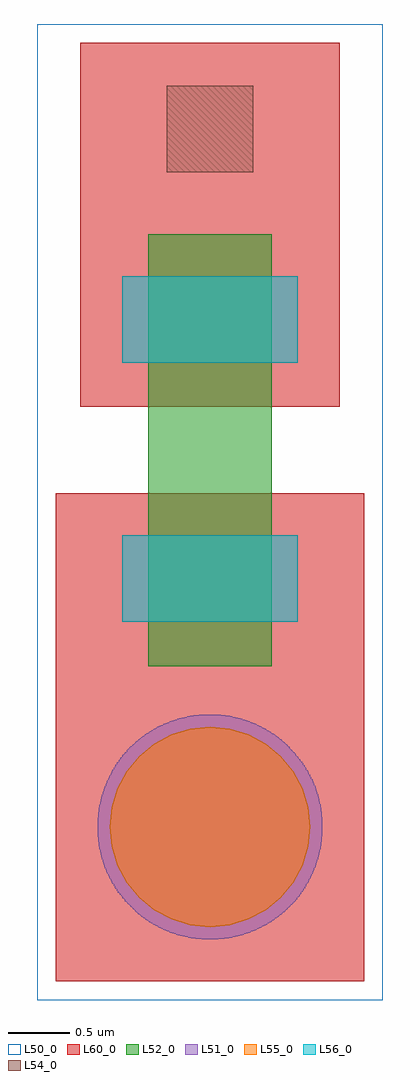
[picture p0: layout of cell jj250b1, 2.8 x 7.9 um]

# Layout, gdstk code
import gdstk
lib = gdstk.Library(unit=1e-6, precision=1e-09)
def R(c, l, rs):  # rectangles x0, y0, x1, y1
    for r in rs: c.add(gdstk.rectangle(r[:2], r[2:], *l))
def P(c, l, *ps):  # polygons
    for p in ps: c.add(gdstk.Polygon(p, *l))
L50_0 = (50, 0)
L51_0 = (51, 0)
L52_0 = (52, 0)
L54_0 = (54, 0)
L55_0 = (55, 0)
L56_0 = (56, 0)
L60_0 = (60, 0)

jj250b1 = lib.new_cell('jj250b1')
R(jj250b1, L50_0, [(-1.4,-1.4,1.4,6.5)])
P(jj250b1, L51_0, [(0,-0.91),(0.065,-0.91),(0.065,-0.905),(0.115,-0.905),(0.115,-0.9),(0.15,-0.9),(0.15,-0.895),(0.18,-0.895),(0.18,-0.89),(0.205,-0.89),(0.205,-0.885),(0.225,-0.885),(0.225,-0.88),(0.24,-0.88),(0.24,-0.875),(0.26,-0.875),(0.26,-0.87),(0.275,-0.87),(0.275,-0.865),(0.29,-0.865),(0.29,-0.86),(0.305,-0.86),(0.305,-0.855),(0.32,-0.855),(0.32,-0.85),(0.33,-0.85),(0.33,-0.845),(0.345,-0.845),(0.345,-0.84),(0.36,-0.84),(0.36,-0.835),(0.37,-0.835),(0.37,-0.83),(0.38,-0.83),(0.38,-0.825),(0.39,-0.825),(0.39,-0.82),(0.4,-0.82),(0.4,-0.815),(0.41,-0.815),(0.41,-0.81),(0.42,-0.81),(0.42,-0.805),(0.43,-0.805),(0.43,-0.8),(0.44,-0.8),(0.44,-0.795),(0.45,-0.795),(0.45,-0.79),(0.46,-0.79),(0.46,-0.785),(0.465,-0.785),(0.465,-0.78),(0.475,-0.78),(0.475,-0.775),(0.48,-0.775),(0.48,-0.77),(0.49,-0.77),(0.49,-0.765),(0.5,-0.765),(0.5,-0.76),(0.505,-0.76),(0.505,-0.755),(0.515,-0.755),(0.515,-0.75),(0.52,-0.75),(0.52,-0.745),(0.525,-0.745),(0.525,-0.74),(0.535,-0.74),(0.535,-0.735),(0.54,-0.735),(0.54,-0.73),(0.55,-0.73),(0.55,-0.725),(0.555,-0.725),(0.555,-0.72),(0.56,-0.72),(0.56,-0.715),(0.565,-0.715),(0.565,-0.71),(0.575,-0.71),(0.575,-0.705),(0.58,-0.705),(0.58,-0.7),(0.585,-0.7),(0.585,-0.695),(0.59,-0.695),(0.59,-0.69),(0.6,-0.69),(0.6,-0.685),(0.605,-0.685),(0.605,-0.68),(0.61,-0.68),(0.61,-0.675),(0.615,-0.675),(0.615,-0.67),(0.62,-0.67),(0.62,-0.665),(0.625,-0.665),(0.625,-0.66),(0.63,-0.66),(0.63,-0.655),(0.635,-0.655),(0.635,-0.65),(0.64,-0.65),(0.64,-0.645),(0.645,-0.645),(0.645,-0.64),(0.65,-0.64),(0.65,-0.635),(0.655,-0.635),(0.655,-0.63),(0.66,-0.63),(0.66,-0.625),(0.665,-0.625),(0.665,-0.62),(0.67,-0.62),(0.67,-0.615),(0.675,-0.615),(0.675,-0.61),(0.68,-0.61),(0.68,-0.605),(0.685,-0.605),(0.685,-0.6),(0.69,-0.6),(0.69,-0.595),(0.695,-0.595),(0.695,-0.59),(0.7,-0.59),(0.7,-0.585),(0.705,-0.585),(0.705,-0.58),(0.705,-0.57),(0.71,-0.57),(0.715,-0.57),(0.715,-0.565),(0.72,-0.565),(0.72,-0.56),(0.725,-0.56),(0.725,-0.555),(0.725,-0.545),(0.73,-0.545),(0.735,-0.545),(0.735,-0.54),(0.74,-0.54),(0.74,-0.535),(0.74,-0.525),(0.745,-0.525),(0.75,-0.525),(0.75,-0.52),(0.75,-0.51),(0.755,-0.51),(0.76,-0.51),(0.76,-0.505),(0.76,-0.495),(0.765,-0.495),(0.77,-0.495),(0.77,-0.49),(0.77,-0.48),(0.775,-0.48),(0.78,-0.48),(0.78,-0.475),(0.78,-0.465),(0.785,-0.465),(0.785,-0.455),(0.79,-0.455),(0.79,-0.445),(0.795,-0.445),(0.8,-0.445),(0.8,-0.44),(0.8,-0.43),(0.805,-0.43),(0.805,-0.42),(0.81,-0.42),(0.81,-0.41),(0.815,-0.41),(0.815,-0.4),(0.82,-0.4),(0.82,-0.39),(0.825,-0.39),(0.825,-0.38),(0.83,-0.38),(0.83,-0.365),(0.835,-0.365),(0.835,-0.355),(0.84,-0.355),(0.84,-0.345),(0.845,-0.345),(0.845,-0.33),(0.85,-0.33),(0.85,-0.32),(0.855,-0.32),(0.855,-0.305),(0.86,-0.305),(0.86,-0.29),(0.865,-0.29),(0.865,-0.275),(0.87,-0.275),(0.87,-0.26),(0.875,-0.26),(0.875,-0.24),(0.88,-0.24),(0.88,-0.225),(0.885,-0.225),(0.885,-0.205),(0.89,-0.205),(0.89,-0.18),(0.895,-0.18),(0.895,-0.15),(0.9,-0.15),(0.9,-0.12),(0.905,-0.12),(0.905,-0.075),(0.91,-0.075),(0.91,0.08),(0.905,0.08),(0.905,0.125),(0.9,0.125),(0.9,0.155),(0.895,0.155),(0.895,0.185),(0.89,0.185),(0.89,0.205),(0.885,0.205),(0.885,0.23),(0.88,0.23),(0.88,0.245),(0.875,0.245),(0.875,0.265),(0.87,0.265),(0.87,0.28),(0.865,0.28),(0.865,0.295),(0.86,0.295),(0.86,0.31),(0.855,0.31),(0.855,0.325),(0.85,0.325),(0.85,0.335),(0.845,0.335),(0.845,0.35),(0.84,0.35),(0.84,0.36),(0.835,0.36),(0.835,0.37),(0.83,0.37),(0.83,0.385),(0.825,0.385),(0.82,0.385),(0.82,0.39),(0.82,0.405),(0.815,0.405),(0.81,0.405),(0.81,0.41),(0.81,0.425),(0.805,0.425),(0.8,0.425),(0.8,0.43),(0.8,0.44),(0.795,0.44),(0.795,0.45),(0.79,0.45),(0.79,0.46),(0.785,0.46),(0.78,0.46),(0.78,0.465),(0.78,0.475),(0.775,0.475),(0.775,0.485),(0.77,0.485),(0.765,0.485),(0.765,0.49),(0.765,0.5),(0.76,0.5),(0.755,0.5),(0.755,0.505),(0.755,0.515),(0.75,0.515),(0.745,0.515),(0.745,0.52),(0.745,0.53),(0.74,0.53),(0.735,0.53),(0.735,0.535),(0.73,0.535),(0.73,0.54),(0.73,0.55),(0.725,0.55),(0.72,0.55),(0.72,0.555),(0.715,0.555),(0.715,0.56),(0.715,0.57),(0.71,0.57),(0.705,0.57),(0.705,0.575),(0.7,0.575),(0.7,0.58),(0.695,0.58),(0.695,0.585),(0.695,0.595),(0.69,0.595),(0.685,0.595),(0.685,0.6),(0.68,0.6),(0.68,0.605),(0.675,0.605),(0.675,0.61),(0.67,0.61),(0.67,0.615),(0.665,0.615),(0.665,0.62),(0.66,0.62),(0.66,0.625),(0.655,0.625),(0.655,0.63),(0.65,0.63),(0.65,0.635),(0.645,0.635),(0.645,0.64),(0.645,0.65),(0.64,0.65),(0.635,0.65),(0.635,0.655),(0.63,0.655),(0.63,0.66),(0.625,0.66),(0.625,0.665),(0.62,0.665),(0.62,0.67),(0.615,0.67),(0.615,0.675),(0.61,0.675),(0.61,0.68),(0.605,0.68),(0.605,0.685),(0.595,0.685),(0.595,0.69),(0.59,0.69),(0.59,0.695),(0.585,0.695),(0.585,0.7),(0.58,0.7),(0.58,0.705),(0.575,0.705),(0.575,0.71),(0.565,0.71),(0.565,0.715),(0.56,0.715),(0.56,0.72),(0.555,0.72),(0.555,0.725),(0.55,0.725),(0.55,0.73),(0.54,0.73),(0.54,0.735),(0.535,0.735),(0.535,0.74),(0.53,0.74),(0.53,0.745),(0.52,0.745),(0.52,0.75),(0.515,0.75),(0.515,0.755),(0.505,0.755),(0.505,0.76),(0.495,0.76),(0.495,0.765),(0.49,0.765),(0.49,0.77),(0.48,0.77),(0.48,0.775),(0.475,0.775),(0.475,0.78),(0.465,0.78),(0.465,0.785),(0.455,0.785),(0.455,0.79),(0.45,0.79),(0.45,0.795),(0.44,0.795),(0.44,0.8),(0.43,0.8),(0.43,0.805),(0.42,0.805),(0.42,0.81),(0.41,0.81),(0.41,0.815),(0.4,0.815),(0.4,0.82),(0.39,0.82),(0.39,0.825),(0.38,0.825),(0.38,0.83),(0.37,0.83),(0.37,0.835),(0.36,0.835),(0.36,0.84),(0.345,0.84),(0.345,0.845),(0.335,0.845),(0.335,0.85),(0.32,0.85),(0.32,0.855),(0.305,0.855),(0.305,0.86),(0.295,0.86),(0.295,0.865),(0.28,0.865),(0.28,0.87),(0.26,0.87),(0.26,0.875),(0.245,0.875),(0.245,0.88),(0.225,0.88),(0.225,0.885),(0.205,0.885),(0.205,0.89),(0.18,0.89),(0.18,0.895),(0.16,0.895),(0.16,0.9),(0.125,0.9),(0.125,0.905),(0.085,0.905),(0.085,0.91),(-0.085,0.91),(-0.085,0.905),(-0.13,0.905),(-0.13,0.9),(-0.16,0.9),(-0.16,0.895),(-0.185,0.895),(-0.185,0.89),(-0.205,0.89),(-0.205,0.885),(-0.23,0.885),(-0.23,0.88),(-0.25,0.88),(-0.25,0.875),(-0.265,0.875),(-0.265,0.87),(-0.28,0.87),(-0.28,0.865),(-0.295,0.865),(-0.295,0.86),(-0.31,0.86),(-0.31,0.855),(-0.325,0.855),(-0.325,0.85),(-0.335,0.85),(-0.335,0.845),(-0.345,0.845),(-0.345,0.84),(-0.36,0.84),(-0.36,0.835),(-0.375,0.835),(-0.375,0.83),(-0.38,0.83),(-0.38,0.825),(-0.395,0.825),(-0.395,0.82),(-0.405,0.82),(-0.405,0.815),(-0.415,0.815),(-0.415,0.81),(-0.425,0.81),(-0.425,0.805),(-0.435,0.805),(-0.435,0.8),(-0.44,0.8),(-0.44,0.795),(-0.45,0.795),(-0.45,0.79),(-0.46,0.79),(-0.46,0.785),(-0.47,0.785),(-0.47,0.78),(-0.475,0.78),(-0.475,0.775),(-0.485,0.775),(-0.485,0.77),(-0.49,0.77),(-0.49,0.765),(-0.5,0.765),(-0.5,0.76),(-0.51,0.76),(-0.51,0.755),(-0.515,0.755),(-0.515,0.75),(-0.525,0.75),(-0.525,0.745),(-0.53,0.745),(-0.53,0.74),(-0.535,0.74),(-0.535,0.735),(-0.545,0.735),(-0.545,0.73),(-0.55,0.73),(-0.55,0.725),(-0.555,0.725),(-0.555,0.72),(-0.565,0.72),(-0.565,0.715),(-0.57,0.715),(-0.57,0.71),(-0.575,0.71),(-0.575,0.705),(-0.58,0.705),(-0.58,0.7),(-0.59,0.7),(-0.59,0.695),(-0.595,0.695),(-0.595,0.69),(-0.6,0.69),(-0.6,0.685),(-0.605,0.685),(-0.605,0.68),(-0.61,0.68),(-0.61,0.675),(-0.615,0.675),(-0.615,0.67),(-0.62,0.67),(-0.62,0.665),(-0.625,0.665),(-0.625,0.66),(-0.63,0.66),(-0.63,0.655),(-0.64,0.655),(-0.64,0.65),(-0.645,0.65),(-0.645,0.645),(-0.65,0.645),(-0.65,0.64),(-0.655,0.64),(-0.655,0.635),(-0.66,0.635),(-0.66,0.63),(-0.665,0.63),(-0.665,0.625),(-0.67,0.625),(-0.67,0.62),(-0.675,0.62),(-0.675,0.615),(-0.675,0.605),(-0.68,0.605),(-0.685,0.605),(-0.685,0.6),(-0.69,0.6),(-0.69,0.595),(-0.695,0.595),(-0.695,0.59),(-0.7,0.59),(-0.7,0.585),(-0.705,0.585),(-0.705,0.58),(-0.71,0.58),(-0.71,0.575),(-0.71,0.565),(-0.715,0.565),(-0.72,0.565),(-0.72,0.56),(-0.725,0.56),(-0.725,0.555),(-0.725,0.545),(-0.73,0.545),(-0.735,0.545),(-0.735,0.54),(-0.74,0.54),(-0.74,0.535),(-0.74,0.525),(-0.745,0.525),(-0.75,0.525),(-0.75,0.52),(-0.755,0.52),(-0.755,0.515),(-0.755,0.505),(-0.76,0.505),(-0.765,0.505),(-0.765,0.5),(-0.765,0.49),(-0.77,0.49),(-0.77,0.48),(-0.775,0.48),(-0.78,0.48),(-0.78,0.475),(-0.78,0.465),(-0.785,0.465),(-0.79,0.465),(-0.79,0.46),(-0.79,0.45),(-0.795,0.45),(-0.795,0.44),(-0.8,0.44),(-0.8,0.43),(-0.805,0.43),(-0.805,0.42),(-0.81,0.42),(-0.81,0.41),(-0.815,0.41),(-0.815,0.4),(-0.82,0.4),(-0.82,0.39),(-0.825,0.39),(-0.825,0.38),(-0.83,0.38),(-0.83,0.37),(-0.835,0.37),(-0.835,0.355),(-0.84,0.355),(-0.84,0.345),(-0.845,0.345),(-0.845,0.33),(-0.85,0.33),(-0.85,0.32),(-0.855,0.32),(-0.855,0.305),(-0.86,0.305),(-0.86,0.29),(-0.865,0.29),(-0.865,0.28),(-0.87,0.28),(-0.87,0.26),(-0.875,0.26),(-0.875,0.245),(-0.88,0.245),(-0.88,0.225),(-0.885,0.225),(-0.885,0.205),(-0.89,0.205),(-0.89,0.18),(-0.895,0.18),(-0.895,0.155),(-0.9,0.155),(-0.9,0.12),(-0.905,0.12),(-0.905,0.075),(-0.91,0.075),(-0.91,-0.08),(-0.905,-0.08),(-0.905,-0.12),(-0.9,-0.12),(-0.9,-0.155),(-0.895,-0.155),(-0.895,-0.18),(-0.89,-0.18),(-0.89,-0.205),(-0.885,-0.205),(-0.885,-0.225),(-0.88,-0.225),(-0.88,-0.245),(-0.875,-0.245),(-0.875,-0.26),(-0.87,-0.26),(-0.87,-0.28),(-0.865,-0.28),(-0.865,-0.295),(-0.86,-0.295),(-0.86,-0.305),(-0.855,-0.305),(-0.855,-0.32),(-0.85,-0.32),(-0.85,-0.335),(-0.845,-0.335),(-0.845,-0.345),(-0.84,-0.345),(-0.84,-0.36),(-0.835,-0.36),(-0.835,-0.37),(-0.83,-0.37),(-0.83,-0.38),(-0.825,-0.38),(-0.825,-0.39),(-0.82,-0.39),(-0.82,-0.4),(-0.815,-0.4),(-0.815,-0.41),(-0.81,-0.41),(-0.81,-0.42),(-0.805,-0.42),(-0.805,-0.43),(-0.8,-0.43),(-0.8,-0.44),(-0.795,-0.44),(-0.795,-0.45),(-0.79,-0.45),(-0.79,-0.46),(-0.785,-0.46),(-0.78,-0.46),(-0.78,-0.465),(-0.78,-0.475),(-0.775,-0.475),(-0.77,-0.475),(-0.77,-0.48),(-0.77,-0.49),(-0.765,-0.49),(-0.765,-0.5),(-0.76,-0.5),(-0.755,-0.5),(-0.755,-0.505),(-0.755,-0.515),(-0.75,-0.515),(-0.745,-0.515),(-0.745,-0.52),(-0.745,-0.53),(-0.74,-0.53),(-0.735,-0.53),(-0.735,-0.535),(-0.73,-0.535),(-0.73,-0.54),(-0.73,-0.55),(-0.725,-0.55),(-0.72,-0.55),(-0.72,-0.555),(-0.715,-0.555),(-0.715,-0.56),(-0.71,-0.56),(-0.71,-0.565),(-0.71,-0.575),(-0.705,-0.575),(-0.7,-0.575),(-0.7,-0.58),(-0.695,-0.58),(-0.695,-0.585),(-0.69,-0.585),(-0.69,-0.59),(-0.69,-0.6),(-0.685,-0.6),(-0.68,-0.6),(-0.68,-0.605),(-0.675,-0.605),(-0.675,-0.61),(-0.67,-0.61),(-0.67,-0.615),(-0.665,-0.615),(-0.665,-0.62),(-0.66,-0.62),(-0.66,-0.625),(-0.655,-0.625),(-0.655,-0.63),(-0.65,-0.63),(-0.65,-0.635),(-0.645,-0.635),(-0.645,-0.64),(-0.64,-0.64),(-0.64,-0.645),(-0.635,-0.645),(-0.635,-0.65),(-0.63,-0.65),(-0.63,-0.655),(-0.625,-0.655),(-0.625,-0.66),(-0.62,-0.66),(-0.62,-0.665),(-0.615,-0.665),(-0.615,-0.67),(-0.61,-0.67),(-0.61,-0.675),(-0.605,-0.675),(-0.605,-0.68),(-0.6,-0.68),(-0.6,-0.685),(-0.595,-0.685),(-0.595,-0.69),(-0.59,-0.69),(-0.59,-0.695),(-0.585,-0.695),(-0.585,-0.7),(-0.58,-0.7),(-0.58,-0.705),(-0.57,-0.705),(-0.57,-0.71),(-0.565,-0.71),(-0.565,-0.715),(-0.56,-0.715),(-0.56,-0.72),(-0.555,-0.72),(-0.555,-0.725),(-0.545,-0.725),(-0.545,-0.73),(-0.54,-0.73),(-0.54,-0.735),(-0.535,-0.735),(-0.535,-0.74),(-0.525,-0.74),(-0.525,-0.745),(-0.52,-0.745),(-0.52,-0.75),(-0.51,-0.75),(-0.51,-0.755),(-0.505,-0.755),(-0.505,-0.76),(-0.495,-0.76),(-0.495,-0.765),(-0.49,-0.765),(-0.49,-0.77),(-0.48,-0.77),(-0.48,-0.775),(-0.475,-0.775),(-0.475,-0.78),(-0.465,-0.78),(-0.465,-0.785),(-0.455,-0.785),(-0.455,-0.79),(-0.445,-0.79),(-0.445,-0.795),(-0.44,-0.795),(-0.44,-0.8),(-0.425,-0.8),(-0.425,-0.805),(-0.42,-0.805),(-0.42,-0.81),(-0.41,-0.81),(-0.41,-0.815),(-0.4,-0.815),(-0.4,-0.82),(-0.39,-0.82),(-0.39,-0.825),(-0.38,-0.825),(-0.38,-0.83),(-0.365,-0.83),(-0.365,-0.835),(-0.355,-0.835),(-0.355,-0.84),(-0.345,-0.84),(-0.345,-0.845),(-0.33,-0.845),(-0.33,-0.85),(-0.32,-0.85),(-0.32,-0.855),(-0.305,-0.855),(-0.305,-0.86),(-0.29,-0.86),(-0.29,-0.865),(-0.275,-0.865),(-0.275,-0.87),(-0.26,-0.87),(-0.26,-0.875),(-0.24,-0.875),(-0.24,-0.88),(-0.22,-0.88),(-0.22,-0.885),(-0.2,-0.885),(-0.2,-0.89),(-0.175,-0.89),(-0.175,-0.895),(-0.15,-0.895),(-0.15,-0.9),(-0.115,-0.9),(-0.115,-0.905),(-0.065,-0.905),(-0.065,-0.91)])
R(jj250b1, L52_0, [(-0.5,1.3,0.5,4.8)])
R(jj250b1, L54_0, [(-0.35,5.3,0.35,6)])
P(jj250b1, L55_0, [(0,-0.81),(0.158,-0.794),(0.31,-0.748),(0.45,-0.673),(0.573,-0.573),(0.674,-0.45),(0.749,-0.31),(0.795,-0.157),(0.811,0.001),(0.795,0.159),(0.749,0.311),(0.674,0.451),(0.573,0.574),(0.45,0.675),(0.31,0.75),(0.158,0.796),(0,0.811),(-0.158,0.796),(-0.31,0.75),(-0.45,0.675),(-0.573,0.574),(-0.674,0.451),(-0.749,0.311),(-0.795,0.159),(-0.811,0.001),(-0.795,-0.157),(-0.749,-0.31),(-0.674,-0.45),(-0.573,-0.573),(-0.45,-0.673),(-0.31,-0.748),(-0.158,-0.794)])
R(jj250b1, L56_0, [(-0.71,1.66,0.71,2.36), (-0.71,3.76,0.71,4.46)])
R(jj250b1, L60_0, [(-1.25,-1.25,1.25,2.7), (-1.05,3.4,1.05,6.35)])

lib.write_gds('jj250b1.gds')
